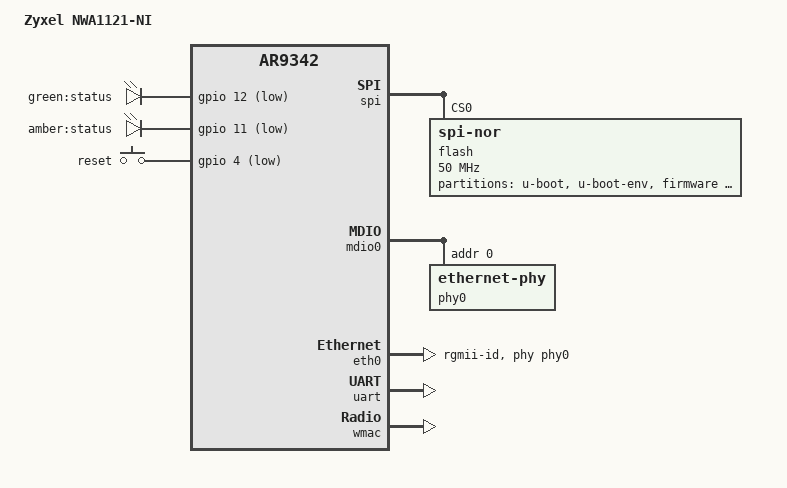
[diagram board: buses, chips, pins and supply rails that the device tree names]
// SPDX-License-Identifier: GPL-2.0-or-later OR MIT

#include "ar9344.dtsi"

#include <dt-bindings/gpio/gpio.h>
#include <dt-bindings/input/input.h>

/ {
	compatible = "zyxel,nwa1121-ni", "qca,ar9342";
	model = "Zyxel NWA1121-NI";

	aliases {
		label-mac-device = &eth0;

		led-boot = &led_status_green;
		led-failsafe = &led_status_amber;
		led-running = &led_status_green;
		led-upgrade = &led_status_amber;
	};

	leds {
		compatible = "gpio-leds";

		led_status_green: status_green {
			label = "green:status";
			gpios = <&gpio 12 GPIO_ACTIVE_LOW>;
		};

		led_status_amber: status_amber {
			label = "amber:status";
			gpios = <&gpio 11 GPIO_ACTIVE_LOW>;
		};
	};

	keys {
		compatible = "gpio-keys";

		reset {
			label = "reset";
			linux,code = <KEY_RESTART>;
			gpios = <&gpio 4 GPIO_ACTIVE_LOW>;
		};
	};
};

&ref {
	clock-frequency = <40000000>;
};

&spi {
	status = "okay";

	num-cs = <1>;

	flash@0 {
		compatible = "jedec,spi-nor";
		reg = <0>;
		spi-max-frequency = <50000000>;

		partitions {
			compatible = "fixed-partitions";
			#address-cells = <1>;
			#size-cells = <1>;

			partition@0 {
				label = "u-boot";
				reg = <0x000000 0x040000>;
				read-only;
			};

			partition@40000 {
				label = "u-boot-env";
				reg = <0x040000 0x010000>;
			};

			firmware: partition@50000 {
				compatible = "denx,uimage";
				label = "firmware";
				reg = <0x50000 0xf50000>;
			};

			partition@fa0000 {
				label = "config";
				reg = <0xfa0000 0x040000>;
				read-only;
			};

			partition@fe0000 {
				label = "mib0";
				reg = <0xfe0000 0x10000>;
				read-only;
			};

			art: partition@ff0000 {
				label = "art";
				reg = <0xff0000 0x010000>;
				read-only;
			};
		};
	};
};

&mdio0 {
	status = "okay";

	phy-mask = <0>;

	phy0: ethernet-phy@0 {
		reg = <0>;
		phy-mode = "rgmii";
	};
};

&eth0 {
	status = "okay";

	pll-data = <0x06000000 0x00000101 0x00001313>;

	mtd-mac-address = <&art 0x1002>;

	phy-mode = "rgmii-id";
	phy-handle = <&phy0>;

	gmac-config {
		device = <&gmac>;
		rxdv-delay = <3>;
		rxd-delay = <3>;
		txen-delay = <3>;
		txd-delay = <3>;
		rgmii-gmac0 = <1>;
	};
};

&uart {
	status = "okay";
};

&wmac {
	status = "okay";

	qca,disable-5ghz;
	mtd-cal-data = <&art 0x1000>;
};
